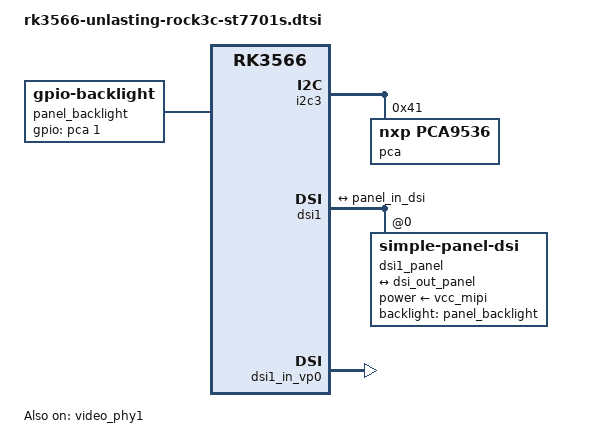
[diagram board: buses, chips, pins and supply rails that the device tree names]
// SPDX-License-Identifier: (GPL-2.0+ OR MIT)
/*
 * Copyright (c) 2024 Rockchip Electronics Co., Ltd.
 *
 */

/ {
	panel_backlight: panel_backlight {
		compatible = "gpio-backlight";
		gpios = <&pca 1 0>;
		default-on;
		status = "okay";
	};
};

&i2c3 {
	pinctrl-names = "default";
	pinctrl-0 = <&i2c3m1_xfer>;
	#address-cells = <1>;
	#size-cells = <0>;
	status = "okay";

	pca: pca@41 {
		compatible = "nxp,pca9536";
		reg = <0x41>;
		gpio-controller;
		#gpio-cells = <2>;
		status = "okay";
		gpio-line-names =
			"0_Unused",
			"1_LCD_BL",
			"2_Unused",
			"3_LCD_RST";
	};
};

&video_phy1 {
	status = "okay";
};

&dsi1 {
	#address-cells = <1>;
	#size-cells = <0>;
	status = "okay";

	dsi1_panel: panel@0 {
		status = "okay";
		compatible = "simple-panel-dsi";
		reg = <0>;
		backlight = <&panel_backlight>;

		power-supply = <&vcc_mipi>;
		dsi,flags = <(MIPI_DSI_MODE_VIDEO | MIPI_DSI_MODE_VIDEO_BURST | MIPI_DSI_MODE_LPM)>;
		dsi,format = <MIPI_DSI_FMT_RGB888>;
		dsi,lanes  = <1>;
		width-mm = <43>;
		height-mm = <57>;

		panel-init-sequence = [
			05 14 01 01
			39 00 06 FF 77 01 00 00 13
			15 00 02 EF 08
			39 00 06 FF 77 01 00 00 10
			39 00 03 C0 4f 00
			39 00 03 C1 10 0c
			39 00 03 C2 07 14
			15 00 02 CC 10
			39 00 11 B0 0a 18 1e 12 16 0c 0e 0d 0c 29 06 14 13 29 33 1c
			39 00 11 B1 0a 19 21 0a 0c 00 0c 03 03 23 01 0e 0c 27 2b 1c
			39 00 06 FF 77 01 00 00 11
			15 00 02 B0 5d
			15 00 02 B1 61
			15 00 02 B2 84
			15 00 02 B3 80
			15 00 02 B5 4d
			15 00 02 B7 85
			15 00 02 B8 20
			15 00 02 C1 78
			15 00 02 C2 78
			15 00 02 D0 88
			39 00 04 E0 00 00 02
			39 00 0c E1 06 a0 08 a0 05 a0 07 a0 00 44 44
			39 00 0d E2 20 20 44 44 96 a0 00 00 96 a0 00 00
			39 00 05 E3 00 00 22 22
			39 00 03 E4 44 44
			39 00 11 E5 0d 91 a0 a0 0f 93 a0 a0 09 8d a0 a0 0b 8f a0 a0
			39 00 05 E6 00 00 22 22
			39 00 03 E7 44 44
			39 00 11 E8 0c 90 a0 a0 0e 92 a0 a0 08 8c a0 a0 0a 8e a0 a0
			39 00 03 E9 36 00
			39 00 08 EB 00 01 e4 e4 44 88 40
			39 00 11 ED ff 45 67 fa 01 2b cf ff ff fc b2 10 af 76 54 ff
			39 00 07 EF 10 0d 04 08 3f 1f
			39 00 06 FF 77 01 00 00 00
			15 00 02 35 00
			05 78 01 11
			05 00 01 29
		];

		panel-exit-sequence = [
			05 0d 01 28
			05 00 01 10
		];

		disp_timings0: display-timings {
			native-mode = <&dsi0_timing0>;
			dsi0_timing0: timing0 {
				clock-frequency = <22572000>;
				hactive = <480>;
				vactive = <640>;
				hfront-porch = <30>;
				hsync-len = <10>;
				hback-porch = <30>;
				vfront-porch = <20>;
				vsync-len = <4>;
				vback-porch = <20>;

				hsync-active = <0>;
				vsync-active = <0>;
				de-active = <0>;
				pixelclk-active = <0>;
			};
		};

		ports {
			#address-cells = <1>;
			#size-cells = <0>;

			port@0 {
				reg = <0>;
				panel_in_dsi: endpoint {
					remote-endpoint = <&dsi_out_panel>;
				};
			};
		};
	};

	ports {
		#address-cells = <1>;
		#size-cells = <0>;

		port@1 {
			reg = <1>;
			dsi_out_panel: endpoint {
				remote-endpoint = <&panel_in_dsi>;
			};
		};
	};
};


&dsi1_in_vp0 {
	status = "okay";
};

&route_dsi1 {
	status = "disabled";
	logo,uboot = "logo.bmp";
	logo,kernel = "logo_kernel.bmp";
	logo,mode = "center";
	charge_logo,mode = "center";
	connect = <&vp0_out_dsi1>;
};

&dsi1_in_vp1 {
	status = "disabled";
};
/* ==================================== */
&hdmi {
	status = "disabled";
};

&hdmi_in_vp0 {
	status = "disabled";
};
